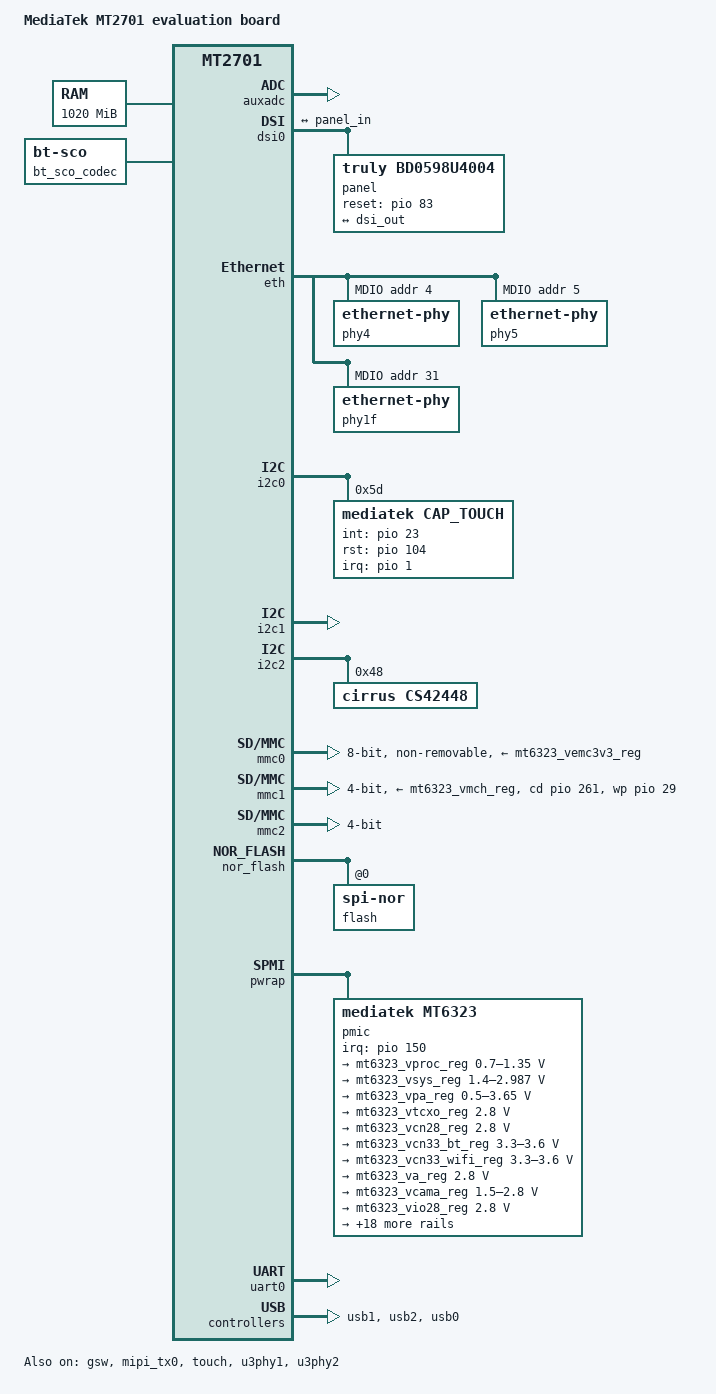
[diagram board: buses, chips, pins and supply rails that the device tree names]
/*
 * Copyright (c) 2015 MediaTek Inc.
 * Author: Erin Lo <erin.lo@mediatek.com>
 *
 * This program is free software; you can redistribute it and/or modify
 * it under the terms of the GNU General Public License version 2 as
 * published by the Free Software Foundation.
 *
 * This program is distributed in the hope that it will be useful,
 * but WITHOUT ANY WARRANTY; without even the implied warranty of
 * MERCHANTABILITY or FITNESS FOR A PARTICULAR PURPOSE.  See the
 * GNU General Public License for more details.
 */

#include "mt2701.dtsi"

/ {
	model = "MediaTek MT2701 evaluation board";
	compatible = "mediatek,mt2701-evb", "mediatek,mt2701";

	memory {
		reg = <0 0x80000000 0 0x3fc00000>;
	};

	reserved-memory {
		#address-cells = <2>;
		#size-cells = <2>;
		ranges;
		ramoops_mem: mem@83f10000 {
			reg = <0 0x83f10000 0 0xe0000>;
		};
	};

	ramoops {
		compatible = "ramoops";
		memory-region = <&ramoops_mem>;
		record-size = <0 0x1000>;
		console-size = <0 0x8000>;
		bconsole-size = <0 0x4000>;
		ftrace-size = <0 0x2000>;
		pmsg-size = <0 0x10000>;
	};

	ice: ice_debug {
		compatible = "mediatek,mt2701-ice_debug";
		clocks = <&infracfg CLK_INFRA_DBG>;
		clock-names = "ice_dbg";
	};

	sound:sound {
		compatible = "mediatek,mt2701-cs42448-machine";
		mediatek,platform = <&afe>;
		/* CS42448 Machine name */
		audio-routing =
		"Line Out Jack", "AOUT1L",
		"Line Out Jack", "AOUT1R",
		"Line Out Jack", "AOUT2L",
		"Line Out Jack", "AOUT2R",
		"Line Out Jack", "AOUT3L",
		"Line Out Jack", "AOUT3R",
		"Line Out Jack", "AOUT4L",
		"Line Out Jack", "AOUT4R",
		"AIN1L", "AMIC",
		"AIN1R", "AMIC",
		"AIN2L", "Tuner In",
		"AIN2R", "Tuner In",
		"AIN3L", "Satellite Tuner In",
		"AIN3R", "Satellite Tuner In",
		"AIN3L", "AUX In",
		"AIN3R", "AUX In";
		mediatek,audio-codec = <&cs42448>;
		mediatek,audio-codec-bt-mrg = <&bt_sco_codec>;
		pinctrl-names = "default";
		pinctrl-0 = <&aud_pins_default>;
		i2s1-in-sel-gpio1 = <&pio 53 0>;
		i2s1-in-sel-gpio2 = <&pio 54 0>;
		status = "okay";
	};

	bt_sco_codec:bt_sco_codec {
		compatible = "linux,bt-sco";
	};
};

&auxadc {
	status = "okay";
};

&dsi0 {
	status = "okay";

	ports {
		#address-cells = <1>;
		#size-cells = <0>;

		port {
			dsi_out: endpoint {
				remote-endpoint = <&panel_in>;
			};
		};
	};

	panel {
		compatible = "truly,bd0598u4004";
		reset-gpios = <&pio 83 0>;

		port {
			panel_in: endpoint {
				remote-endpoint = <&dsi_out>;
			};
		};
	};
};

&eth {
	mac-address = [00 00 00 00 00 00];
	status = "okay";
	pinctrl-names = "default";
	pinctrl-0 = <&ephy_default>;
	gmac0: mac@0 {
		compatible = "mediatek,eth-mac";
		reg = <0>;
		phy-mode = "trgmii";
		fixed-link {
			speed = <1000>;
			full-duplex;
			pause;
		};
	};

	gmac1: mac@1 {
		compatible = "mediatek,eth-mac";
		reg = <1>;
		phy-handle = <&phy5>;
	};

	mdio-bus {
		#address-cells = <1>;
		#size-cells = <0>;
		phy4: ethernet-phy@4 {
			reg = <4>;
			phy-mode = "rgmii";
		};
		phy5: ethernet-phy@5 {
			reg = <5>;
			phy-mode = "rgmii-rxid";
		};
		phy1f: ethernet-phy@1f {
			reg = <0x1f>;
			phy-mode = "rgmii";
		};
	};
};

&gsw {
	mt7530-supply = <&mt6323_vpa_reg>;
	pinctrl-names = "reset";
	pinctrl-0 = <&gsw_reset>;
	mediatek,reset-pin = <&pio 15 0>;
	interrupt-parent = <&pio>;
	interrupts = <129 IRQ_TYPE_EDGE_RISING>;
	status = "okay";
};

&i2c0 {
	pinctrl-names = "default";
	pinctrl-0 = <&i2c0_pins_a>;
	status = "okay";

	cap_touch@5d {
		compatible = "mediatek,cap_touch";
		reg = <0x5d>;
		interrupt-parent = <&pio>;
		interrupts = <1 IRQ_TYPE_EDGE_FALLING>;
		int-gpio = <&pio 23 0>;
		rst-gpio = <&pio 104 0>;
	};
};

&i2c1 {
	pinctrl-names = "default";
	pinctrl-0 = <&i2c1_pins_a>;
	status = "okay";
};

&i2c2 {
	pinctrl-names = "default";
	pinctrl-0 = <&i2c2_pins_a>;
	status = "okay";
	cs42448: cs42448@48 {
		compatible = "cirrus,cs42448";
		reg = <0x48>;
		clocks = <&topckgen CLK_TOP_AUD_I2S1_MCLK>;
		clock-names = "mclk";
	};
};

&mmc0 {
	pinctrl-names = "default", "state_uhs";
	pinctrl-0 = <&mmc0_pins_default>;
	pinctrl-1 = <&mmc0_pins_uhs>;
	status = "okay";
	bus-width = <8>;
	max-frequency = <50000000>;
	cap-mmc-highspeed;
	vmmc-supply = <&mt6323_vemc3v3_reg>;
	vqmmc-supply = <&mt6323_vio18_reg>;
	non-removable;
};

&mmc1 {
	pinctrl-names = "default", "state_uhs";
	pinctrl-0 = <&mmc1_pins_default>;
	pinctrl-1 = <&mmc1_pins_uhs>;
	status = "okay";
	bus-width = <4>;
	max-frequency = <50000000>;
	cap-sd-highspeed;
	sd-uhs-sdr25;
	cd-gpios = <&pio 261 0>;
	wp-gpios = <&pio 29 0>;
	vmmc-supply = <&mt6323_vmch_reg>;
	vqmmc-supply = <&mt6323_vmc_reg>;
};

&mmc2 {
	status = "okay";
	bus-width = <4>;
	max-frequency = <200000000>;
	cap-sd-highspeed;
	sd-uhs-sdr12;
	sd-uhs-sdr25;
	sd-uhs-sdr50;
	sd-uhs-sdr104;
};

&nor_flash {
	pinctrl-names = "default";
	pinctrl-0 = <&nor_gpio1_pins>;
	status = "okay";
	max-frequency = <50000000>;
	non-removable;
	flash@0 {
		compatible = "jedec,spi-nor";
		reg = <0>;
	};
};

&mipi_tx0 {
	status = "okay";
};

&spi0 {
	pinctrl-names = "default";
	pinctrl-0 = <&spi_pins_a>;
	status = "disabled";
};

&spi1 {
	pinctrl-names = "default";
	pinctrl-0 = <&spi_pins_b>;
	status = "disabled";
};
&spi2 {
	pinctrl-names = "default";
	pinctrl-0 = <&spi_pins_c>;
	status = "disabled";
};

&pio {
	aud_pins_default: audiodefault {
		pins_cmd_dat {
			pinmux = <MT2701_PIN_49_I2S0_DATA__FUNC_I2S0_DATA>,
				 <MT2701_PIN_72_I2S0_DATA_IN__FUNC_I2S0_DATA_IN>,
				 <MT2701_PIN_73_I2S0_LRCK__FUNC_I2S0_LRCK>,
				 <MT2701_PIN_74_I2S0_BCK__FUNC_I2S0_BCK>,
				 <MT2701_PIN_126_I2S0_MCLK__FUNC_I2S0_MCLK>,
				 <MT2701_PIN_33_I2S1_DATA__FUNC_I2S1_DATA>,
				 <MT2701_PIN_34_I2S1_DATA_IN__FUNC_I2S1_DATA_IN>,
				 <MT2701_PIN_35_I2S1_BCK__FUNC_I2S1_BCK>,
				 <MT2701_PIN_36_I2S1_LRCK__FUNC_I2S1_LRCK>,
				 <MT2701_PIN_37_I2S1_MCLK__FUNC_I2S1_MCLK>,
				 <MT2701_PIN_203_PWM0__FUNC_I2S2_DATA>,
				 <MT2701_PIN_204_PWM1__FUNC_I2S3_DATA>,
				 <MT2701_PIN_53_SPI0_CSN__FUNC_GPIO53>,
				 <MT2701_PIN_54_SPI0_CK__FUNC_GPIO54>,
				 <MT2701_PIN_18_PCM_CLK__FUNC_MRG_CLK>,
				 <MT2701_PIN_19_PCM_SYNC__FUNC_MRG_SYNC>,
				 <MT2701_PIN_20_PCM_RX__FUNC_MRG_TX>,
				 <MT2701_PIN_21_PCM_TX__FUNC_MRG_RX>;
			drive-strength = <MTK_DRIVE_12mA>;
			bias-pull-down;
		};
	};
	ctp_pins_default: eint1default {
		pins_cmd_dat {
			pinmux = <MT2701_PIN_23_EINT1__FUNC_GPIO23>;
			slew-rate = <0>;
			bias-disable;
		};
	};

	ctp_pins_eint_as_int: eint1asint {
		pins_cmd_dat {
			pinmux = <MT2701_PIN_23_EINT1__FUNC_GPIO23>;
			slew-rate = <0>;
			bias-disable;
		};
	};

	ctp_pins_eint_output0: eintoutput0 {
		pins_cmd_dat {
			pinmux = <MT2701_PIN_23_EINT1__FUNC_GPIO23>;
			slew-rate = <1>;
			output-low;
		};
	};

	ctp_pins_eint_output1: eintoutput1 {
		pins_cmd_dat {
			pinmux = <MT2701_PIN_23_EINT1__FUNC_GPIO23>;
			slew-rate = <1>;
			output-high;
		};
	};

	ctp_pins_rst_output0: rstoutput0 {
		pins_cmd_dat {
			pinmux = <MT2701_PIN_104_SPI2_CLK__FUNC_GPIO104>;
			slew-rate = <1>;
			output-low;
		};
	};

	ctp_pins_rst_output1: rstoutput1 {
		pins_cmd_dat {
			pinmux = <MT2701_PIN_104_SPI2_CLK__FUNC_GPIO104>;
			slew-rate = <1>;
			output-high;
		};
	};

	ephy_default: ephy_default {
		pins_ephy {
			pinmux = <MT2701_PIN_275_MDC__FUNC_MDC>,
				<MT2701_PIN_276_MDIO__FUNC_MDIO>,
				<MT2701_PIN_262_G2_TXEN__FUNC_G2_TXEN>,
				<MT2701_PIN_263_G2_TXD3__FUNC_G2_TXD3>,
				<MT2701_PIN_264_G2_TXD2__FUNC_G2_TXD2>,
				<MT2701_PIN_265_G2_TXD1__FUNC_G2_TXD1>,
				<MT2701_PIN_266_G2_TXD0__FUNC_G2_TXD0>,
				<MT2701_PIN_267_G2_TXC__FUNC_G2_TXC>,
				<MT2701_PIN_268_G2_RXC__FUNC_G2_RXC>,
				<MT2701_PIN_269_G2_RXD0__FUNC_G2_RXD0>,
				<MT2701_PIN_270_G2_RXD1__FUNC_G2_RXD1>,
				<MT2701_PIN_271_G2_RXD2__FUNC_G2_RXD2>,
				<MT2701_PIN_272_G2_RXD3__FUNC_G2_RXD3>,
				<MT2701_PIN_274_G2_RXDV__FUNC_G2_RXDV>;
		};
	};

	gsw_reset: gsw_reset {
		pins_rst {
			pinmux = <MT2701_PIN_15_UTXD2__FUNC_GPIO15>;
			output-low;
		};
	};

	i2c0_pins_a: i2c0@0 {
		pins1 {
			pinmux = <MT2701_PIN_75_SDA0__FUNC_SDA0>,
				 <MT2701_PIN_76_SCL0__FUNC_SCL0>;
			bias-disable;
		};
	};

	i2c1_pins_a: i2c1@0 {
		pins1 {
			pinmux = <MT2701_PIN_57_SDA1__FUNC_SDA1>,
				 <MT2701_PIN_58_SCL1__FUNC_SCL1>;
			bias-disable;
		};
	};

	i2c2_pins_a: i2c2@0 {
		pins1 {
			pinmux = <MT2701_PIN_77_SDA2__FUNC_SDA2>,
				 <MT2701_PIN_78_SCL2__FUNC_SCL2>;
			bias-disable;
		};
	};

	mmc0_pins_default: mmc0default {
		pins_cmd_dat {
			pinmux = <MT2701_PIN_121_MSDC0_DAT0__FUNC_MSDC0_DAT0>,
				<MT2701_PIN_120_MSDC0_DAT1__FUNC_MSDC0_DAT1>,
				<MT2701_PIN_119_MSDC0_DAT2__FUNC_MSDC0_DAT2>,
				<MT2701_PIN_118_MSDC0_DAT3__FUNC_MSDC0_DAT3>,
				<MT2701_PIN_114_MSDC0_DAT4__FUNC_MSDC0_DAT4>,
				<MT2701_PIN_113_MSDC0_DAT5__FUNC_MSDC0_DAT5>,
				<MT2701_PIN_112_MSDC0_DAT6__FUNC_MSDC0_DAT6>,
				<MT2701_PIN_111_MSDC0_DAT7__FUNC_MSDC0_DAT7>,
				<MT2701_PIN_116_MSDC0_CMD__FUNC_MSDC0_CMD>;
			input-enable;
			bias-pull-up;
		};

		pins_clk {
			pinmux = <MT2701_PIN_117_MSDC0_CLK__FUNC_MSDC0_CLK>;
			bias-pull-down;
		};

		pins_rst {
			pinmux = <MT2701_PIN_115_MSDC0_RSTB__FUNC_MSDC0_RSTB>;
			bias-pull-up;
		};
	};

	mmc0_pins_uhs: mmc0@0{
		pins_cmd_dat {
			pinmux = <MT2701_PIN_121_MSDC0_DAT0__FUNC_MSDC0_DAT0>,
				<MT2701_PIN_120_MSDC0_DAT1__FUNC_MSDC0_DAT1>,
				<MT2701_PIN_119_MSDC0_DAT2__FUNC_MSDC0_DAT2>,
				<MT2701_PIN_118_MSDC0_DAT3__FUNC_MSDC0_DAT3>,
				<MT2701_PIN_114_MSDC0_DAT4__FUNC_MSDC0_DAT4>,
				<MT2701_PIN_113_MSDC0_DAT5__FUNC_MSDC0_DAT5>,
				<MT2701_PIN_112_MSDC0_DAT6__FUNC_MSDC0_DAT6>,
				<MT2701_PIN_111_MSDC0_DAT7__FUNC_MSDC0_DAT7>,
				<MT2701_PIN_116_MSDC0_CMD__FUNC_MSDC0_CMD>;
			input-enable;
			drive-strength = <MTK_DRIVE_2mA>;
			bias-pull-up = <MTK_PUPD_SET_R1R0_01>;
		};

		pins_clk {
			pinmux = <MT2701_PIN_117_MSDC0_CLK__FUNC_MSDC0_CLK>;
			drive-strength = <MTK_DRIVE_2mA>;
			bias-pull-down = <MTK_PUPD_SET_R1R0_01>;
		};

		pins_rst {
			pinmux = <MT2701_PIN_115_MSDC0_RSTB__FUNC_MSDC0_RSTB>;
			bias-pull-up;
		};
	};

	mmc1_pins_default: mmc1default {
		pins_cmd_dat {
			pinmux = <MT2701_PIN_107_MSDC1_DAT0__FUNC_MSDC1_DAT0>,
			     <MT2701_PIN_108_MSDC1_DAT1__FUNC_MSDC1_DAT1>,
			     <MT2701_PIN_109_MSDC1_DAT2__FUNC_MSDC1_DAT2>,
			     <MT2701_PIN_110_MSDC1_DAT3__FUNC_MSDC1_DAT3>,
			     <MT2701_PIN_105_MSDC1_CMD__FUNC_MSDC1_CMD>;
			input-enable;
			drive-strength = <MTK_DRIVE_4mA>;
			bias-pull-up = <MTK_PUPD_SET_R1R0_10>;
		};

		pins_clk {
			pinmux = <MT2701_PIN_106_MSDC1_CLK__FUNC_MSDC1_CLK>;
			bias-pull-down;
			drive-strength = <MTK_DRIVE_4mA>;
		};

		pins_wp {
			pinmux = <MT2701_PIN_29_EINT7__FUNC_MSDC1_WP>;
			input-enable;
			bias-pull-up;
		};

		pins_insert {
			pinmux = <MT2701_PIN_261_MSDC1_INS__FUNC_GPIO261>;
			bias-pull-up;
		};
	};

	mmc1_pins_uhs: mmc1@0 {
		pins_cmd_dat {
			pinmux = <MT2701_PIN_107_MSDC1_DAT0__FUNC_MSDC1_DAT0>,
			     <MT2701_PIN_108_MSDC1_DAT1__FUNC_MSDC1_DAT1>,
			     <MT2701_PIN_109_MSDC1_DAT2__FUNC_MSDC1_DAT2>,
			     <MT2701_PIN_110_MSDC1_DAT3__FUNC_MSDC1_DAT3>,
			     <MT2701_PIN_105_MSDC1_CMD__FUNC_MSDC1_CMD>;
			input-enable;
			drive-strength = <MTK_DRIVE_4mA>;
			bias-pull-up = <MTK_PUPD_SET_R1R0_10>;
		};

		pins_clk {
			pinmux = <MT2701_PIN_106_MSDC1_CLK__FUNC_MSDC1_CLK>;
			drive-strength = <MTK_DRIVE_4mA>;
			bias-pull-down = <MTK_PUPD_SET_R1R0_10>;
		};
	};

	nor_gpio1_pins: nor {
		pins1 {
			pinmux = <MT2701_PIN_240_EXT_XCS__FUNC_EXT_XCS>,
				<MT2701_PIN_236_EXT_SDIO3__FUNC_EXT_SDIO3>,
				<MT2701_PIN_239_EXT_SDIO0__FUNC_EXT_SDIO0>,
				<MT2701_PIN_241_EXT_SCK__FUNC_EXT_SCK>;
			input-enable;
			drive-strength = <MTK_DRIVE_4mA>;
			bias-pull-up;
		};

		pins2 {
			pinmux = <MT2701_PIN_238_EXT_SDIO1__FUNC_EXT_SDIO1>,
				<MT2701_PIN_237_EXT_SDIO2__FUNC_EXT_SDIO2>;
			drive-strength = <MTK_DRIVE_4mA>;
			bias-pull-up;
		};
	};

	spi_pins_a: spi0@0 {
		pins_spi {
			pinmux = <MT2701_PIN_53_SPI0_CSN__FUNC_SPI0_CS>,
				<MT2701_PIN_54_SPI0_CK__FUNC_SPI0_CK>,
				<MT2701_PIN_55_SPI0_MI__FUNC_SPI0_MI>,
				<MT2701_PIN_56_SPI0_MO__FUNC_SPI0_MO>;
			bias-disable;
		};
	};

	spi_pins_b: spi1@0 {
		pins_spi {
			pinmux = <MT2701_PIN_7_SPI1_CSN__FUNC_SPI1_CS>,
				<MT2701_PIN_8_SPI1_MI__FUNC_SPI1_MI>,
				<MT2701_PIN_9_SPI1_MO__FUNC_SPI1_MO>,
				<MT2701_PIN_199_SPI1_CLK__FUNC_SPI1_CK>;
			bias-disable;
		};
	};

	spi_pins_c: spi2@0 {
		pins_spi {
			pinmux = <MT2701_PIN_101_SPI2_CSN__FUNC_SPI2_CS>,
				<MT2701_PIN_102_SPI2_MI__FUNC_SPI2_MI>,
				<MT2701_PIN_103_SPI2_MO__FUNC_SPI2_MO>,
				<MT2701_PIN_104_SPI2_CLK__FUNC_SPI2_CK>;
			bias-disable;
		};
	};

	usb_iddig: iddig_irq_init{
		pins_cmd_dat {
			pinmux = <MT2701_PIN_44_NCEB1__FUNC_GPIO44>;
			bias-pull-up ;
		};
	};

	usb_drvvbus: drvvbus_init{
		pins_cmd_dat {
			pinmux = <MT2701_PIN_45_NCEB0__FUNC_GPIO45>;
			output-low;
		};
	};

	usb_drvvbus_low: drvvbus_low{
		pins_cmd_dat {
			pinmux = <MT2701_PIN_45_NCEB0__FUNC_GPIO45>;
			slew-rate = <1>;
			output-low;
		};
	};

	usb_drvvbus_high: drvvbus_high{
		pins_cmd_dat {
			pinmux = <MT2701_PIN_45_NCEB0__FUNC_GPIO45>;
			output-high;
		};
	};
};

&pwrap {
	pmic: mt6323 {
		compatible = "mediatek,mt6323";
		interrupt-parent = <&pio>;
		interrupts = <150 IRQ_TYPE_LEVEL_HIGH>;
		interrupt-controller;
		#interrupt-cells = <2>;

		mt6323regulator: mt6323regulator{
			compatible = "mediatek,mt6323-regulator";

			mt6323_vproc_reg: buck_vproc{
				regulator-name = "vproc";
				regulator-min-microvolt = < 700000>;
				regulator-max-microvolt = <1350000>;
				regulator-ramp-delay = <12500>;
				regulator-always-on;
				regulator-boot-on;
			};

			mt6323_vsys_reg: buck_vsys{
				regulator-name = "vsys";
				regulator-min-microvolt = <1400000>;
				regulator-max-microvolt = <2987500>;
				regulator-ramp-delay = <25000>;
				regulator-always-on;
				regulator-boot-on;
			};

			mt6323_vpa_reg: buck_vpa{
				regulator-name = "vpa";
				regulator-min-microvolt = < 500000>;
				regulator-max-microvolt = <3650000>;
			};

			mt6323_vtcxo_reg: ldo_vtcxo{
				regulator-name = "vtcxo";
				regulator-min-microvolt = <2800000>;
				regulator-max-microvolt = <2800000>;
				regulator-enable-ramp-delay = <90>;
				regulator-always-on;
				regulator-boot-on;
			};

			mt6323_vcn28_reg: ldo_vcn28{
				regulator-name = "vcn28";
				regulator-min-microvolt = <2800000>;
				regulator-max-microvolt = <2800000>;
				regulator-enable-ramp-delay = <185>;
			};

			mt6323_vcn33_bt_reg: ldo_vcn33_bt{
				regulator-name = "vcn33_bt";
				regulator-min-microvolt = <3300000>;
				regulator-max-microvolt = <3600000>;
				regulator-enable-ramp-delay = <185>;
			};

			mt6323_vcn33_wifi_reg: ldo_vcn33_wifi{
				regulator-name = "vcn33_wifi";
				regulator-min-microvolt = <3300000>;
				regulator-max-microvolt = <3600000>;
				regulator-enable-ramp-delay = <185>;
			};

			mt6323_va_reg: ldo_va{
				regulator-name = "va";
				regulator-min-microvolt = <2800000>;
				regulator-max-microvolt = <2800000>;
				regulator-enable-ramp-delay = <216>;
				regulator-always-on;
				regulator-boot-on;
			};

			mt6323_vcama_reg: ldo_vcama{
				regulator-name = "vcama";
				regulator-min-microvolt = <1500000>;
				regulator-max-microvolt = <2800000>;
				regulator-enable-ramp-delay = <216>;
			};

			mt6323_vio28_reg: ldo_vio28{
				regulator-name = "vio28";
				regulator-min-microvolt = <2800000>;
				regulator-max-microvolt = <2800000>;
				regulator-enable-ramp-delay = <216>;
				regulator-always-on;
				regulator-boot-on;
			};

			mt6323_vusb_reg: ldo_vusb{
				regulator-name = "vusb";
				regulator-min-microvolt = <3300000>;
				regulator-max-microvolt = <3300000>;
				regulator-enable-ramp-delay = <216>;
				regulator-boot-on;
			};

			mt6323_vmc_reg: ldo_vmc{
				regulator-name = "vmc";
				regulator-min-microvolt = <1800000>;
				regulator-max-microvolt = <3300000>;
				regulator-enable-ramp-delay = <36>;
				regulator-always-on;
				regulator-boot-on;
			};

			mt6323_vmch_reg: ldo_vmch{
				regulator-name = "vmch";
				regulator-min-microvolt = <3000000>;
				regulator-max-microvolt = <3300000>;
				regulator-enable-ramp-delay = <36>;
				regulator-boot-on;
			};

			mt6323_vemc3v3_reg: ldo_vemc3v3{
				regulator-name = "vemc3v3";
				regulator-min-microvolt = <3000000>;
				regulator-max-microvolt = <3300000>;
				regulator-enable-ramp-delay = <36>;
				regulator-always-on;
				regulator-boot-on;
			};

			mt6323_vgp1_reg: ldo_vgp1{
				regulator-name = "vgp1";
				regulator-min-microvolt = <1200000>;
				regulator-max-microvolt = <3300000>;
				regulator-enable-ramp-delay = <216>;
			};

			mt6323_vgp2_reg: ldo_vgp2{
				regulator-name = "vgp2";
				regulator-min-microvolt = <1200000>;
				regulator-max-microvolt = <3000000>;
				regulator-enable-ramp-delay = <216>;
			};

			mt6323_vgp3_reg: ldo_vgp3{
				regulator-name = "vgp3";
				regulator-min-microvolt = <1200000>;
				regulator-max-microvolt = <1800000>;
				regulator-enable-ramp-delay = <216>;
			};

			mt6323_vcn18_reg: ldo_vcn18{
				regulator-name = "vcn18";
				regulator-min-microvolt = <1800000>;
				regulator-max-microvolt = <1800000>;
				regulator-enable-ramp-delay = <216>;
			};

			mt6323_vsim1_reg: ldo_vsim1{
				regulator-name = "vsim1";
				regulator-min-microvolt = <1800000>;
				regulator-max-microvolt = <3000000>;
				regulator-enable-ramp-delay = <216>;
			};

			mt6323_vsim2_reg: ldo_vsim2{
				regulator-name = "vsim2";
				regulator-min-microvolt = <1800000>;
				regulator-max-microvolt = <3000000>;
				regulator-enable-ramp-delay = <216>;
			};

			mt6323_vrtc_reg: ldo_vrtc{
				regulator-name = "vrtc";
				regulator-min-microvolt = <2800000>;
				regulator-max-microvolt = <2800000>;
				regulator-always-on;
				regulator-boot-on;
			};

			mt6323_vcamaf_reg: ldo_vcamaf{
				regulator-name = "vcamaf";
				regulator-min-microvolt = <1200000>;
				regulator-max-microvolt = <3300000>;
				regulator-enable-ramp-delay = <216>;
			};

			mt6323_vibr_reg: ldo_vibr{
				regulator-name = "vibr";
				regulator-min-microvolt = <1200000>;
				regulator-max-microvolt = <3300000>;
				regulator-enable-ramp-delay = <36>;
			};

			mt6323_vrf18_reg: ldo_vrf18{
				regulator-name = "vrf18";
				regulator-min-microvolt = <1825000>;
				regulator-max-microvolt = <1825000>;
				regulator-enable-ramp-delay = <187>;
			};

			mt6323_vm_reg: ldo_vm{
				regulator-name = "vm";
				regulator-min-microvolt = <1200000>;
				regulator-max-microvolt = <1800000>;
				regulator-enable-ramp-delay = <216>;
				regulator-always-on;
				regulator-boot-on;
			};

			mt6323_vio18_reg: ldo_vio18{
				regulator-name = "vio18";
				regulator-min-microvolt = <1800000>;
				regulator-max-microvolt = <1800000>;
				regulator-enable-ramp-delay = <216>;
				regulator-always-on;
				regulator-boot-on;
			};

			mt6323_vcamd_reg: ldo_vcamd{
				regulator-name = "vcamd";
				regulator-min-microvolt = <1200000>;
				regulator-max-microvolt = <1800000>;
				regulator-enable-ramp-delay = <216>;
			};

			mt6323_vcamio_reg: ldo_vcamio{
				regulator-name = "vcamio";
				regulator-min-microvolt = <1800000>;
				regulator-max-microvolt = <1800000>;
				regulator-enable-ramp-delay = <216>;
			};
		};
	};
};

&touch {
	vtouch-supply = <&mt6323_vgp1_reg>;
	tpd-resolution = <1080 1920>;
	use-tpd-button = <0>;
	tpd-key-num = <4>;
	tpd-key-local= <139 172 158 0>;
	tpd-key-dim-local = <60 850 50 30 180 850 50 30 300 850 50 30 420 850 50 30>;
	tpd-max-touch-num = <5>;
	tpd-filter-enable = <1>;
	tpd-filter-pixel-density = <124>;
	tpd-filter-custom-prameters = <0 0 0 0 0 0 0 0 0 0 0 0>;
	tpd-filter-custom-speed = <0 0 0>;
	pinctrl-names = "default", "state_eint_as_int", "state_eint_output0", "state_eint_output1",
		"state_rst_output0", "state_rst_output1";
	pinctrl-0 = <&ctp_pins_default>;
	pinctrl-1 = <&ctp_pins_eint_as_int>;
	pinctrl-2 = <&ctp_pins_eint_output0>;
	pinctrl-3 = <&ctp_pins_eint_output1>;
	pinctrl-4 = <&ctp_pins_rst_output0>;
	pinctrl-5 = <&ctp_pins_rst_output1>;
	status = "okay";
};

&uart0 {
	status = "okay";
};


&u3phy1 {
	status = "okay";
};

&u3phy2 {
	status = "okay";
};


&usb1 {
	vusb33-supply = <&mt6323_vusb_reg>;
	status = "okay";
};

&usb2 {
	vusb33-supply = <&mt6323_vusb_reg>;
	status = "okay";
};

&usb0 {
	pinctrl-names = "iddig_irq_init", "drvvbus_init", "drvvbus_low","drvvbus_high";
	pinctrl-0 = <&usb_iddig>;
	pinctrl-1 = <&usb_drvvbus>;
	pinctrl-2 = <&usb_drvvbus_low>;
	pinctrl-3 = <&usb_drvvbus_high>;
	status = "okay";
	drvvbus_gpio = <&pio 45 0>;
	otg-iddig{
		iddig_gpio = <&pio 44 0>;
		interrupt-parent = <&pio>;
		interrupts = <267 IRQ_TYPE_LEVEL_LOW>;
	};
	vbus-detect{
		vbus_gpio = <&pio 237 0>;
		interrupt-parent = <&pio>;
		interrupts = <123 IRQ_TYPE_LEVEL_HIGH>;
	};
};
